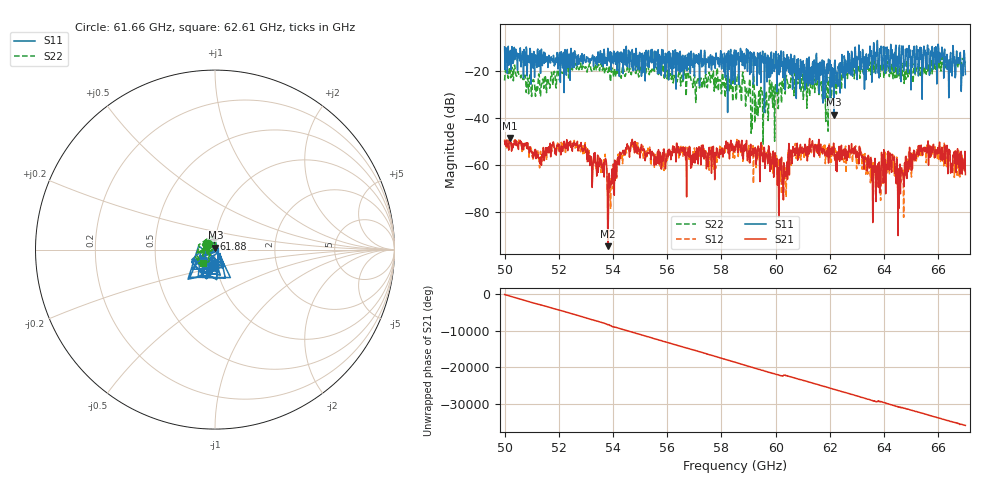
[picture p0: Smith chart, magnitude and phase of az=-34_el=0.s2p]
!Created with skrf (http://scikit-rf.org).
# GHz S RI R 50.0
!freq ReS11 ImS11 ReS21 ImS21 ReS12 ImS12 ReS22 ImS22
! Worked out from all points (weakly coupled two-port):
!   1001 points, 50 GHz to 67 GHz, reference 50 ohm
!   highest |S21| = -48.59 dB at 50.19 GHz (marker M1); lowest = -94.6 dB at 53.81 GHz (marker M2)
!   lowest |S11| = -38.7 dB at 62.16 GHz (marker M3), VSWR 1.02, Z = 50.2 + j1.15 ohm
!   |S11| at or under -10 dB: 50.8 GHz to 54.49 GHz (3.684 GHz wide, 7 % of centre); 54.49 GHz to 62.94 GHz (8.446 GHz wide, 14.4 % of centre); 66.55 GHz to end of sweep (the widest 3 of 31)
!   |S22| runs from -51.2 to -14.1 dB; largest |S21 - S12| = 0.0022
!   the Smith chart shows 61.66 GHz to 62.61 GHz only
!   S11 on the Smith chart (normalised r, x): 61.66 GHz: 0.98, -0.16; 61.88 GHz: 0.99, +0.12; 62.61 GHz: 0.87, -0.10
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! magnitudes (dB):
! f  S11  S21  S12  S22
! 50 GHz  -9.7  -49.9  -49.2  -24.1
! 50.19 GHz  -12.6  -48.6  -49.4  -18.5
! 51.07 GHz  -11.8  -56.4  -55.5  -23.8
! 52.84 GHz  -13.4  -53.6  -51.8  -19.6
! 53.69 GHz  -13.3  -58.8  -60.1  -21.0
! 53.81 GHz  -10.4  -94.6  -69.4  -20.6
! 54.74 GHz  -20.0  -50.6  -53.0  -18.6
! 55.68 GHz  -13.6  -53.5  -57.0  -21.5
! 58.5 GHz  -25.7  -53.0  -52.7  -24.9
! 59.3 GHz  -15.5  -54.1  -56.1  -38.5
! 60.3 GHz  -15.0  -59.1  -70.5  -24.9
! 60.68 GHz  -20.8  -54.7  -53.2  -30.5
! 61.34 GHz  -25.7  -51.6  -52.6  -25.2
! 61.66 GHz  -21.9  -51.2  -52.6  -26.4
! 61.88 GHz  -24.6  -54.1  -53.5  -22.9
! 62.16 GHz  -38.7  -53.9  -52.3  -30.4
! 62.61 GHz  -20.9  -57.5  -56.4  -19.8
! 63.63 GHz  -11.2  -63.2  -60.8  -16.6
! 64.18 GHz  -17.9  -56.8  -59.1  -18.9
! 64.52 GHz  -13.7  -90.1  -63.3  -19.1
! 65.32 GHz  -12.2  -52.4  -54.6  -18.5
! 67 GHz  -21.5  -64.1  -58.4  -15.9
